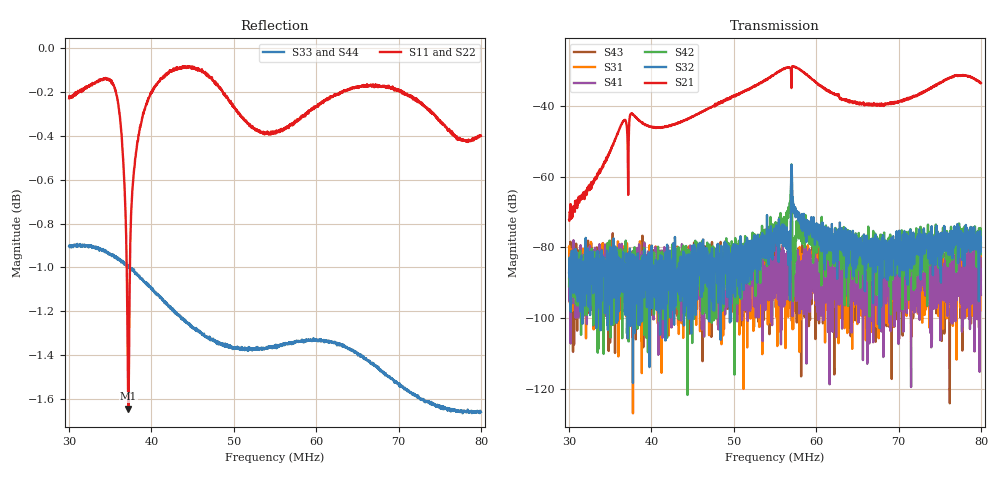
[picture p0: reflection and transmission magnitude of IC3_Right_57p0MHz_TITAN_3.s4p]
#  HZ  S  DB  R  50.00
! Rohde & Schwarz Vector Network Analyzer
! Rohde-Schwarz,ZNB8-4Port,1311601044102961,2.82
! Created: UTC 2/8/2019, 2:59:22 PM
! freq[Hz]  db:S11  ang:S11  db:S12  ang:S12  db:S13  ang:S13  db:S14  ang:S14
!  db:S21  ang:S21  db:S22  ang:S22  db:S23  ang:S23  db:S24  ang:S24
!  db:S31  ang:S31  db:S32  ang:S32  db:S33  ang:S33  db:S34  ang:S34
!  db:S41  ang:S41  db:S42  ang:S42  db:S43  ang:S43  db:S44  ang:S44
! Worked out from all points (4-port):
!   2001 points, 30 MHz to 80 MHz, reference 50 ohm
!   strongest paths, dB at 30 MHz, 42.5 MHz, 55 MHz, 67.5 MHz, 80 MHz:
!     S21: -72.3, -45.4, -31.0, -39.8, -33.6
!     S32: -87.3, -85.9, -76.3, -83.0, -80.0
!     S42: -90.9, -88.3, -75.5, -78.2, -78.8
!     S41: -87.1, -96.9, -93.1, -101.6, -91.8
!     S31: -79.8, -88.6, -87.6, -87.7, -89.0
!     S43: -88.7, -89.6, -90.0, -89.1, -93.3
!   lowest |S11| = -1.6 dB at 37.2 MHz (marker M1), VSWR 10.59, Z = 124 + j220 ohm
!   |S11| at or under -10 dB: nowhere
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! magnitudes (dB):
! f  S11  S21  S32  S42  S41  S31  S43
! 30 MHz  -0.2  -72.3  -87.3  -90.9  -87.1  -79.8  -88.7
! 37.2 MHz  -1.6  -56.0  -81.8  -83.6  -88.2  -91.4  -90.7
! 52 MHz  -0.4  -35.3  -85.7  -80.2  -97.2  -82.7  -86.2
! 56.62 MHz  -0.4  -29.3  -82.8  -68.6  -88.0  -85.8  -84.0
! 57.2 MHz  -0.3  -29.0  -67.9  -95.1  -79.6  -103.0  -84.2
! 62.3 MHz  -0.2  -36.8  -77.7  -82.2  -88.0  -84.8  -83.3
! 80 MHz  -0.4  -33.6  -80.0  -78.8  -91.8  -89.0  -93.3
